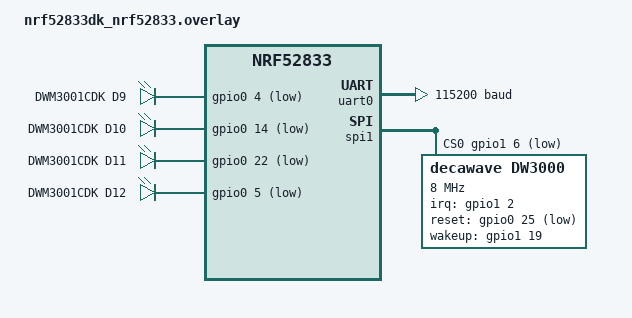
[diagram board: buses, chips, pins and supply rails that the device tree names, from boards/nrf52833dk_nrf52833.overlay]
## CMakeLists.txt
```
cmake_minimum_required(VERSION 3.20.0)

find_package(Zephyr REQUIRED HINTS $ENV{ZEPHYR_BASE})
project(uwb_phase1_bringup)

target_sources(app PRIVATE src/main.c)

# Verifies the beacon configuration and generates heimdall_beacon_config.h.
# Fails the configure stage if the tool-declared values disagree with the
# independently re-derived model. See docs/protocol-decisions.md item 27.
if(CONFIG_HEIMDALL_BEACON)
  include(cmake/heimdall_config.cmake)
  target_sources(app PRIVATE
    src/beacon_schedule.c
    src/beacon_report.c
    src/beacon_wire.c)
endif()

if(CONFIG_USB_DEVICE_STACK_NEXT)
  target_sources(app PRIVATE src/usb_cir_stream.c)
  target_sources(app PRIVATE ${ZEPHYR_BASE}/samples/subsys/usb/common/sample_usbd_init.c)
  target_include_directories(app PRIVATE ${ZEPHYR_BASE}/samples/subsys/usb/common)
endif()

if(CONFIG_PHASE1_ROLE_SCHEDULED_TX OR CONFIG_PHASE1_ROLE_SENSING_RX)
  target_sources(app PRIVATE src/primitives.c)
endif()

if(CONFIG_PHASE1_ROLE_BEACON_RUNTIME)
  target_sources(app PRIVATE src/beacon_runtime.c)
endif()

if(CONFIG_HEIMDALL_RUNTIME_GATEWAY)
  target_sources(app PRIVATE src/usb_runtime_records.c)
endif()

if(CONFIG_PHASE1_ROLE_TWR_INITIATOR OR CONFIG_PHASE1_ROLE_TWR_RESPONDER)
  target_sources(app PRIVATE src/twr.c)
endif()
```

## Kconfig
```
mainmenu "UWB Phase 1 bring-up"

source "Kconfig.zephyr"
source "${ZEPHYR_BASE}/samples/subsys/usb/common/Kconfig.sample_usbd"

choice PHASE1_ROLE
	prompt "Phase 1 application role"
	default PHASE1_ROLE_DEV_ID

config PHASE1_ROLE_DEV_ID
	bool "DEV_ID probe"

config PHASE1_ROLE_TX
	bool "1000-frame IRQ-confirmed transmitter"

config PHASE1_ROLE_RX
	bool "Continuous IRQ-driven receiver"

config PHASE1_ROLE_SCHEDULED_TX
	bool "1000-frame radio-clock scheduled transmitter"


config PHASE1_ROLE_SENSING_RX
	bool "CIR/timestamp/CFO sensing receiver"

config PHASE1_ROLE_USB_THROUGHPUT
	bool "Finite radio-free USB CDC throughput benchmark"
	depends on USB_DEVICE_STACK_NEXT

config PHASE1_ROLE_TWR_INITIATOR
	bool "SS-TWR initiator"

config PHASE1_ROLE_TWR_RESPONDER
	bool "SS-TWR responder"

config PHASE1_ROLE_BEACON_RUNTIME
	bool "Heimdall N=2 runtime beacon"
	select HEIMDALL_BEACON

endchoice

config PHASE1_FRAME_COUNT
	int "Number of frames in finite Phase 1 runs"
	default 1000
	range 1 10000

config PHASE1_TX_PERIOD_MS
	int "Scheduled-TX frame period in milliseconds"
	default 20
	range 2 10000

config PHASE1_TX_FRAME_BYTES
	int "Scheduled-TX total frame bytes including FCS"
	default 1023
	range 12 1023
	depends on PHASE1_ROLE_SCHEDULED_TX
	help
		Total frame length used by the scheduled transmitter timing gate.
		The two hardware FCS bytes are included in this value.

config PHASE1_EXT_PHR
	bool "Use DW3000 extended PHR"
	default y
	help
		Select the extended PHR required for frames larger than 127 bytes.

config PHASE1_ENABLE_FRAME_FILTER
	bool "Enable 802.15.4 hardware frame filter"
	default n
	depends on PHASE1_ROLE_SCHEDULED_TX || PHASE1_ROLE_SENSING_RX
	help
		Enable PAN ID and data-frame filtering for the radio bring-up gate.

config PHASE1_FRAME_FILTER_EXTENDED
	bool "Allow extended frame types in hardware filter"
	default n
	depends on PHASE1_ENABLE_FRAME_FILTER
	help
		Add DWT_FF_EXTEND_EN to the hardware filter flags for the EXT-PHR
		combination test.

config PHASE1_NODE_ID
	int "Bring-up source node ID"
	default 0
	range 0 7
	depends on PHASE1_ROLE_SCHEDULED_TX || PHASE1_ROLE_SENSING_RX

config PHASE1_NETWORK_ID
	hex "Bring-up PAN ID"
	default 0xABCD
	range 0 65535
	depends on PHASE1_ROLE_SCHEDULED_TX || PHASE1_ROLE_SENSING_RX

config PHASE1_CONTINUOUS_TX
	bool "Run scheduled TX continuously"
	default n
	depends on PHASE1_ROLE_SCHEDULED_TX
	help
	  Keep transmitting scheduled frames until the board is reset or reflashed.

config PHASE1_CIR_DUMP
	bool "Dump complete CIR windows over UART"
	default n

config PHASE1_USB_TEST_RECORDS
	int "Number of synthetic USB records"
	default 1000
	range 1 100000
	depends on PHASE1_ROLE_USB_THROUGHPUT

config PHASE1_USB_TEST_PERIOD_US
	int "Delay between synthetic USB records in microseconds"
	default 20000
	range 1 1000000
	depends on PHASE1_ROLE_USB_THROUGHPUT

config PHASE1_USB_TEST_START_DELAY_MS
	int "Startup delay before synthetic USB records in milliseconds"
	default 5000
	range 0 30000
	depends on PHASE1_ROLE_USB_THROUGHPUT

config PHASE1_USB_BULK_TX
	bool "Use FIFO-filled interrupt-driven CDC transmission"
	default y
	depends on USB_DEVICE_STACK_NEXT

config PHASE1_CIR_TAPS
	int "Sensing CIR taps"
	default 64
	range 1 128
	depends on PHASE1_ROLE_SENSING_RX
	help
		Number of complex CIR taps read by the sensing receiver. Use 64 and
		128 for the callback timing gate.

config PHASE1_CIR_LEFT_TAPS
	int "Sensing CIR taps before first path"
	default 16
	range 0 127
	depends on PHASE1_ROLE_SENSING_RX
	help
		Number of CIR taps requested before the CIA first-path index.

config PHASE1_MEASURE_CALLBACK
	bool "Measure sensing RX callback duration"
	default n
	depends on PHASE1_ROLE_SENSING_RX
	help
		Toggle D9 around the sensing callback and report maximum callback,
		diagnostics-read, and CIR-read durations using the Zephyr cycle counter.

config PHASE1_MEASURE_REPORT_ASSEMBLY
	bool "Measure production beacon report assembly"
	default n
	depends on PHASE1_MEASURE_CALLBACK && HEIMDALL_BEACON
	help
		Encode the received CIR as a CRC-bearing beacon subreport, pack the
		rotated pooled report, build every balanced frame, and report separate
		subreport-encode and report-assembly maxima.

config HEIMDALL_BEACON
	bool "Heimdall superslot beacon protocol"
	default n
	select CRC
	help
	  Enable the Heimdall beacon protocol defined in
	  contracts/beacon-v1.md. Selecting this makes the build verify a
	  beacon configuration file and generate heimdall_beacon_config.h.
	  Point the build at a configuration with
	  -DHEIMDALL_CONFIG_FILE=<path>; it defaults to
	  deployment/beacon-config.example.json.

	  The configure stage fails if the configuration's declared derived
	  values disagree with the independently re-derived reference model in
	  tools/config/heimdall_config.py.

config HEIMDALL_NODE_ID
	int "Heimdall schedule node ID"
	default 0
	range 0 7
	depends on HEIMDALL_BEACON
	help
		Schedule position for this firmware image. The deployment roster must
		bind this position to the board hardware ID before transmission is
		enabled.

config HEIMDALL_EXPECTED_DEVICE_ID_LOW
	hex "Expected FICR DEVICEID[0]"
	default 0
	depends on PHASE1_ROLE_BEACON_RUNTIME
	help
		Low 32-bit word of the physical board identity assigned to
		HEIMDALL_NODE_ID. A zero/zero identity is invalid and prevents the
		runtime from starting.

config HEIMDALL_EXPECTED_DEVICE_ID_HIGH
	hex "Expected FICR DEVICEID[1]"
	default 0
	depends on PHASE1_ROLE_BEACON_RUNTIME
	help
		High 32-bit word of the physical board identity assigned to
		HEIMDALL_NODE_ID.

config HEIMDALL_TX_ANTENNA_DELAY_DTU
	int "Per-board TX antenna delay"
	default 0
	range 0 65535
	depends on PHASE1_ROLE_BEACON_RUNTIME

config HEIMDALL_RX_ANTENNA_DELAY_DTU
	int "Per-board RX antenna delay"
	default 0
	range 0 65535
	depends on PHASE1_ROLE_BEACON_RUNTIME

config HEIMDALL_RUNTIME_GATEWAY
	bool "Export Heimdall runtime records over USB CDC"
	default n
	depends on PHASE1_ROLE_BEACON_RUNTIME && USB_DEVICE_STACK_NEXT
	help
		Enable the gateway-only USB CDC v1 record stream. Fixed radio nodes
		must leave this disabled.
```

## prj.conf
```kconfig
CONFIG_GPIO=y
CONFIG_SERIAL=y
CONFIG_CONSOLE=y
CONFIG_UART_CONSOLE=y
CONFIG_PRINTK=y
CONFIG_SPI=y
CONFIG_DW3000=y
CONFIG_DW3000_CHIP_DW3000=y
CONFIG_SYSTEM_WORKQUEUE_STACK_SIZE=4096
```

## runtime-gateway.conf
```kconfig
CONFIG_PHASE1_ROLE_BEACON_RUNTIME=y
CONFIG_HEIMDALL_BEACON=y
CONFIG_HEIMDALL_RUNTIME_GATEWAY=y
CONFIG_SPEED_OPTIMIZATIONS=y
CONFIG_HWINFO=y
CONFIG_USB_DEVICE_STACK_NEXT=y
CONFIG_USBD_CDC_ACM_CLASS=y
CONFIG_USBD_CDC_ACM_WORKQUEUE=y
CONFIG_USBD_CDC_ACM_STACK_SIZE=1024
CONFIG_UART_INTERRUPT_DRIVEN=y
CONFIG_UART_LINE_CTRL=y
CONFIG_UART_CONSOLE=n
CONFIG_PHASE1_USB_BULK_TX=y
CONFIG_SAMPLE_USBD_VID=0x2FE3
CONFIG_SAMPLE_USBD_PID=0x0101
CONFIG_SAMPLE_USBD_MANUFACTURER="Open UWB"
CONFIG_SAMPLE_USBD_PRODUCT="Heimdall Gateway"
CONFIG_SAMPLE_USBD_MAX_POWER=100
CONFIG_LOG=y
CONFIG_USBD_LOG_LEVEL_ERR=y
CONFIG_UDC_DRIVER_LOG_LEVEL_ERR=y
CONFIG_USBD_CDC_ACM_LOG_LEVEL_OFF=y
```

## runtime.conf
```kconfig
CONFIG_PHASE1_ROLE_BEACON_RUNTIME=y
CONFIG_HEIMDALL_BEACON=y
CONFIG_HWINFO=y
```

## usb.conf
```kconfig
CONFIG_USB_DEVICE_STACK_NEXT=y
CONFIG_USBD_CDC_ACM_CLASS=y
CONFIG_UART_INTERRUPT_DRIVEN=y
CONFIG_UART_LINE_CTRL=y
CONFIG_UART_CONSOLE=n
CONFIG_PHASE1_CIR_DUMP=y
CONFIG_SAMPLE_USBD_VID=0x2FE3
CONFIG_SAMPLE_USBD_PID=0x0101
CONFIG_SAMPLE_USBD_MANUFACTURER="Open UWB"
CONFIG_SAMPLE_USBD_PRODUCT="DWM3001 UWB CDC"
CONFIG_SAMPLE_USBD_MAX_POWER=100
CONFIG_LOG=y
CONFIG_USBD_LOG_LEVEL_ERR=y
CONFIG_UDC_DRIVER_LOG_LEVEL_ERR=y
CONFIG_USBD_CDC_ACM_LOG_LEVEL_OFF=y
```

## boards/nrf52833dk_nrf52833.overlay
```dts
#include <zephyr/dt-bindings/gpio/gpio.h>
#include <zephyr/dt-bindings/pinctrl/nrf-pinctrl.h>

/ {
	aliases {
		led0 = &phase1_led;
		led1 = &heimdall_led1;
		led2 = &heimdall_led2;
		led3 = &heimdall_led3;
	};

	leds {
		phase1_led: phase1_led {
			gpios = <&gpio0 4 GPIO_ACTIVE_LOW>;
			label = "DWM3001CDK D9";
		};
		heimdall_led1: heimdall_led1 {
			gpios = <&gpio0 14 GPIO_ACTIVE_LOW>;
			label = "DWM3001CDK D10";
		};
		heimdall_led2: heimdall_led2 {
			gpios = <&gpio0 22 GPIO_ACTIVE_LOW>;
			label = "DWM3001CDK D11";
		};
		heimdall_led3: heimdall_led3 {
			gpios = <&gpio0 5 GPIO_ACTIVE_LOW>;
			label = "DWM3001CDK D12";
		};
	};
};

/* J-Link OB VCOM wiring on the DWM3001CDK. */
&uart0_default {
	/delete-node/ group1;
	/delete-node/ group2;

	group1 {
		psels = <NRF_PSEL(UART_TX, 0, 19)>;
	};

	group2 {
		psels = <NRF_PSEL(UART_RX, 0, 15)>;
		bias-pull-up;
	};
};

&uart0_sleep {
	/delete-node/ group1;
	/delete-node/ group2;

	group1 {
		psels = <NRF_PSEL(UART_TX, 0, 19)>,
			<NRF_PSEL(UART_RX, 0, 15)>;
		low-power-enable;
	};
};

&uart0 {
	status = "okay";
	current-speed = <115200>;
};

/* Initial DW3110 bring-up: legacy SPI1 at 8 MHz, deliberately not SPIM3. */
&spi1_default {
	/delete-node/ group1;

	group1 {
		psels = <NRF_PSEL(SPIM_SCK, 0, 3)>,
			<NRF_PSEL(SPIM_MISO, 0, 29)>,
			<NRF_PSEL(SPIM_MOSI, 0, 8)>;
	};
};

&spi1_sleep {
	/delete-node/ group1;

	group1 {
		psels = <NRF_PSEL(SPIM_SCK, 0, 3)>,
			<NRF_PSEL(SPIM_MISO, 0, 29)>,
			<NRF_PSEL(SPIM_MOSI, 0, 8)>;
		low-power-enable;
	};
};

&spi1 {
	status = "okay";
	compatible = "nordic,nrf-spi";
	cs-gpios = <&gpio1 6 GPIO_ACTIVE_LOW>;

	dw3000: dw3000@0 {
		compatible = "decawave,dw3000";
		reg = <0>;
		status = "okay";
		spi-max-frequency = <8000000>;
		irq-gpios = <&gpio1 2 GPIO_ACTIVE_HIGH>;
		reset-gpios = <&gpio0 25 GPIO_ACTIVE_LOW>;
		wakeup-gpios = <&gpio1 19 GPIO_ACTIVE_HIGH>;
	};
};

/* The stock DK enables this Arduino-header bus; it is not wired on the CDK. */
&spi3 {
	status = "disabled";
};
```

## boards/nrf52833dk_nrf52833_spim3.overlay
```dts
#include <zephyr/dt-bindings/gpio/gpio.h>
#include <zephyr/dt-bindings/pinctrl/nrf-pinctrl.h>

 / {
	aliases {
		led0 = &phase1_led;
		led1 = &heimdall_led1;
		led2 = &heimdall_led2;
		led3 = &heimdall_led3;
	};

	leds {
		phase1_led: phase1_led {
			gpios = <&gpio0 4 GPIO_ACTIVE_LOW>;
			label = "DWM3001CDK D9";
		};
		heimdall_led1: heimdall_led1 {
			gpios = <&gpio0 14 GPIO_ACTIVE_LOW>;
			label = "DWM3001CDK D10";
		};
		heimdall_led2: heimdall_led2 {
			gpios = <&gpio0 22 GPIO_ACTIVE_LOW>;
			label = "DWM3001CDK D11";
		};
		heimdall_led3: heimdall_led3 {
			gpios = <&gpio0 5 GPIO_ACTIVE_LOW>;
			label = "DWM3001CDK D12";
		};
	};
};

/* J-Link OB VCOM wiring on the DWM3001CDK. */
&uart0_default {
	/delete-node/ group1;
	/delete-node/ group2;

	group1 {
		psels = <NRF_PSEL(UART_TX, 0, 19)>;
	};

	group2 {
		psels = <NRF_PSEL(UART_RX, 0, 15)>;
		bias-pull-up;
	};
};

&uart0_sleep {
	/delete-node/ group1;
	/delete-node/ group2;

	group1 {
		psels = <NRF_PSEL(UART_TX, 0, 19)>,
			<NRF_PSEL(UART_RX, 0, 15)>;
		low-power-enable;
	};
};

&uart0 {
	status = "okay";
	current-speed = <115200>;
};

/*
 * Optional Phase 2 speed-test profile: the nRF52833's only 32 MHz-capable
 * SPI master. Keep the default board overlay as the known-good 8 MHz rollback.
 */
&spi3_default {
	/delete-node/ group1;

	group1 {
		psels = <NRF_PSEL(SPIM_SCK, 0, 3)>,
			<NRF_PSEL(SPIM_MISO, 0, 29)>,
			<NRF_PSEL(SPIM_MOSI, 0, 8)>;
		nordic,drive-mode = <NRF_DRIVE_H0H1>;
	};
};

&spi3_sleep {
	/delete-node/ group1;

	group1 {
		psels = <NRF_PSEL(SPIM_SCK, 0, 3)>,
			<NRF_PSEL(SPIM_MISO, 0, 29)>,
			<NRF_PSEL(SPIM_MOSI, 0, 8)>;
		low-power-enable;
	};
};

&spi1 {
	/delete-node/ dw3000@0;
	status = "disabled";
};

&spi3 {
	status = "okay";
	cs-gpios = <&gpio1 6 GPIO_ACTIVE_LOW>;

	dw3000: dw3000@0 {
		compatible = "decawave,dw3000";
		reg = <0>;
		status = "okay";
		spi-max-frequency = <32000000>;
		irq-gpios = <&gpio1 2 GPIO_ACTIVE_HIGH>;
		reset-gpios = <&gpio0 25 GPIO_ACTIVE_LOW>;
		wakeup-gpios = <&gpio1 19 GPIO_ACTIVE_HIGH>;
	};
};
```

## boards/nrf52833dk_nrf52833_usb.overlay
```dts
&zephyr_udc0 {
	cdc_acm_uart0 {
		compatible = "zephyr,cdc-acm-uart";
		label = "DWM3001 USB CDC ACM";
		tx-fifo-size = <8192>;
	};
};
```

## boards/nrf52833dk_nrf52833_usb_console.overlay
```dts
/ {
	chosen {
		zephyr,console = &cdc_acm_uart0;
	};
};

&zephyr_udc0 {
	cdc_acm_uart0: cdc_acm_uart0 {
		compatible = "zephyr,cdc-acm-uart";
		label = "DWM3001 USB CDC ACM";
	};
};
```

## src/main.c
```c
#include <zephyr/device.h>
#include <zephyr/drivers/gpio.h>
#include <zephyr/kernel.h>
#include <zephyr/sys/printk.h>
#if defined(CONFIG_USB_DEVICE_STACK_NEXT)
#include <sample_usbd.h>
#include <zephyr/drivers/uart.h>
#include <zephyr/usb/usbd.h>
#include "usb_cir_stream.h"
#endif

#include <deca_device_api.h>
#include <deca_probe_interface.h>
#include <dw3000_hw.h>
#include <dw3000_spi.h>

#if defined(CONFIG_HEIMDALL_BEACON)
#include "heimdall_beacon_config.h"
#include "beacon_wire.h"
#endif
#if defined(CONFIG_HEIMDALL_RUNTIME_GATEWAY)
#include "usb_runtime_records.h"
#endif

#define HEARTBEAT_PERIOD_MS 500
#define FRAME_COUNT 1000U
#define FRAME_DATA_LEN 10U
#define FRAME_FCS_LEN 2U
#define FRAME_WIRE_LEN (FRAME_DATA_LEN + FRAME_FCS_LEN)
#define TX_PERIOD_MS 20
#define RX_BUFFER_LEN 127U
#define DW3000_NODE DT_COMPAT_GET_ANY_STATUS_OKAY(decawave_dw3000)

int phase1_run_scheduled_tx(void);
int phase1_run_sensing_rx(void);
int phase1_run_twr_initiator(void);
int phase1_run_twr_responder(void);
int heimdall_beacon_runtime_run(void);

#if defined(CONFIG_USB_DEVICE_STACK_NEXT)
static const struct device *const usb_uart = DEVICE_DT_GET_ONE(zephyr_cdc_acm_uart);

static void usb_msg_cb(struct usbd_context *const ctx, const struct usbd_msg *msg)
{
	if (usbd_can_detect_vbus(ctx)) {
		if (msg->type == USBD_MSG_VBUS_READY) {
			(void)usbd_enable(ctx);
		} else if (msg->type == USBD_MSG_VBUS_REMOVED) {
			(void)usbd_disable(ctx);
		}
	}
}

static void usb_init(void)
{
	struct usbd_context *ctx;

	if (!device_is_ready(usb_uart)) {
		printk("USB CDC device not ready\\n");
		return;
	}
	ctx = sample_usbd_init_device(usb_msg_cb);
	if (ctx == NULL) {
		printk("USB CDC init failed\\n");
		return;
	}
	if (!usbd_can_detect_vbus(ctx)) {
		(void)usbd_enable(ctx);
	}
	printk("USB CDC ready\\n");
}
#endif

static const struct gpio_dt_spec heartbeat_led =
	GPIO_DT_SPEC_GET(DT_ALIAS(led0), gpios);

#if defined(CONFIG_HEIMDALL_BEACON)
_Static_assert(HEIMDALL_N_NODES >= 2 && HEIMDALL_N_NODES <= HEIMDALL_MAX_NODES,
	       "Heimdall node count is outside the protocol range");
_Static_assert(CONFIG_HEIMDALL_NODE_ID < HEIMDALL_N_NODES,
	       "Heimdall node ID is outside the configured roster range");
_Static_assert(HEIMDALL_CIR_TAPS >= 1 && HEIMDALL_CIR_TAPS <= HEIMDALL_MAX_CIR_TAPS,
	       "Heimdall CIR tap count is outside the protocol range");
_Static_assert(HEIMDALL_CIR_LEFT_TAPS < HEIMDALL_CIR_TAPS,
	       "Heimdall CIR window starts outside the tap count");
_Static_assert(HEIMDALL_MAX_FRAME_BYTES <= 1023,
	       "Heimdall maximum frame exceeds the DW3000 EXT PHR limit");
_Static_assert(HEIMDALL_FRAME_BYTES <= HEIMDALL_MAX_FRAME_BYTES,
	       "Heimdall frame exceeds the configured maximum");
_Static_assert(HEIMDALL_M * HEIMDALL_FRAME_PAYLOAD_BYTES >=
	       HEIMDALL_POOLED_REPORT_MAX_BYTES,
	       "Heimdall pooled report does not fit its frames");
_Static_assert(HEIMDALL_SLOT_DURATION_US % 100U == 0U,
	       "Heimdall slot duration is not quantised to 100 us");
_Static_assert(HEIMDALL_SLOT_DURATION_US >= HEIMDALL_SLOT_FLOOR_US,
	       "Heimdall slot duration is below the calculated floor");
#endif

static dwt_config_t radio_config = {
#if defined(CONFIG_HEIMDALL_BEACON)
	.chan = HEIMDALL_PHY_CHANNEL,
	.txPreambLength = HEIMDALL_PHY_PREAMBLE_LENGTH == 128 ? DWT_PLEN_128 : DWT_PLEN_64,
	.rxPAC = HEIMDALL_PHY_PAC == 8 ? DWT_PAC8 : DWT_PAC4,
	.txCode = HEIMDALL_PHY_TX_PREAMBLE_CODE,
	.rxCode = HEIMDALL_PHY_RX_PREAMBLE_CODE,
	.sfdType = HEIMDALL_PHY_SFD_TYPE,
	.dataRate = DWT_BR_6M8,
	.phrMode = HEIMDALL_PHY_PHR_MODE_EXT ? DWT_PHRMODE_EXT : DWT_PHRMODE_STD,
	.phrRate = HEIMDALL_PHY_PHR_RATE_DTA ? DWT_PHRRATE_DTA : DWT_PHRRATE_STD,
	.sfdTO = HEIMDALL_PHY_SFD_TIMEOUT,
	.stsMode = DWT_STS_MODE_OFF,
	.stsLength = DWT_STS_LEN_64,
	.pdoaMode = DWT_PDOA_M0,
#else
	.chan = 9,
	.txPreambLength = DWT_PLEN_128,
	.rxPAC = DWT_PAC8,
	.txCode = 9,
	.rxCode = 9,
	.sfdType = 1,
	.dataRate = DWT_BR_6M8,
	.phrMode = CONFIG_PHASE1_EXT_PHR ? DWT_PHRMODE_EXT : DWT_PHRMODE_STD,
	.phrRate = DWT_PHRRATE_STD,
	.sfdTO = 129,
	.stsMode = DWT_STS_MODE_OFF,
	.stsLength = DWT_STS_LEN_64,
	.pdoaMode = DWT_PDOA_M0,
#endif
};

static const dwt_txconfig_t tx_rf_config = {
#if defined(CONFIG_HEIMDALL_BEACON)
	.PGdly = HEIMDALL_PHY_TX_PG_DELAY,
	.power = HEIMDALL_PHY_TX_POWER,
#else
	.PGdly = 0x34,
	.power = 0xfefefefe,
#endif
	.PGcount = 0,
};

#if defined(CONFIG_PHASE1_ROLE_TX)
K_SEM_DEFINE(tx_done, 0, 1);
static volatile uint32_t tx_irq_count;

static void tx_confirm_cb(const dwt_cb_data_t *cb_data)
{
	ARG_UNUSED(cb_data);
	tx_irq_count++;
	k_sem_give(&tx_done);
}

static dwt_callbacks_s tx_callbacks = {
	.cbTxDone = tx_confirm_cb,
};
#elif defined(CONFIG_PHASE1_ROLE_RX)
static uint8_t rx_buffer[RX_BUFFER_LEN];
static volatile uint32_t rx_irq_count;
static volatile uint32_t rx_error_irq_count;
static volatile uint32_t rx_expected;
static volatile uint32_t rx_duplicates;
static volatile uint32_t rx_last_uptime_ms;
static volatile int16_t rx_last_rssi_q8_8;
static volatile int16_t rx_last_fp_power_q8_8;
static volatile bool rx_have_sequence;
static uint16_t rx_last_sequence;

static void rx_ok_cb(const dwt_cb_data_t *cb_data)
{
	dwt_cirdiags_t cir_diag;
	uint16_t sequence;
	uint16_t length = cb_data->datalength;

	if (length > sizeof(rx_buffer)) {
		length = sizeof(rx_buffer);
	}

	dwt_readrxdata(rx_buffer, length, 0);
	if ((length >= 6U) && (rx_buffer[0] == 0xC5) &&
	    (rx_buffer[4] == 'P') && (rx_buffer[5] == '1')) {
		sequence = (uint16_t)rx_buffer[2] |
			   ((uint16_t)rx_buffer[3] << 8);

		if ((sequence == 0U) && rx_have_sequence) {
			rx_irq_count = 0;
			rx_error_irq_count = 0;
			rx_expected = 0;
			rx_duplicates = 0;
			rx_have_sequence = false;
		}

		if (!rx_have_sequence) {
			rx_expected = (uint32_t)sequence + 1U;
			rx_have_sequence = true;
		} else if (sequence == rx_last_sequence) {
			rx_duplicates++;
		} else if (sequence > rx_last_sequence) {
			rx_expected += (uint32_t)(sequence - rx_last_sequence);
		}

		rx_last_sequence = sequence;
		rx_irq_count++;
		rx_last_uptime_ms = k_uptime_get_32();

		if (dwt_readdiagnostics_acc(&cir_diag, DWT_ACC_IDX_IP_M) ==
		    DWT_SUCCESS) {
			(void)dwt_calculate_rssi(&cir_diag, DWT_ACC_IDX_IP_M,
					 (int16_t *)&rx_last_rssi_q8_8);
			(void)dwt_calculate_first_path_power(
				&cir_diag, DWT_ACC_IDX_IP_M,
				(int16_t *)&rx_last_fp_power_q8_8);
		}
	}

	(void)dwt_rxenable(DWT_START_RX_IMMEDIATE);
}

static void rx_error_cb(const dwt_cb_data_t *cb_data)
{
	ARG_UNUSED(cb_data);
	rx_error_irq_count++;
	(void)dwt_rxenable(DWT_START_RX_IMMEDIATE);
}

static dwt_callbacks_s rx_callbacks = {
	.cbRxOk = rx_ok_cb,
	.cbRxTo = rx_error_cb,
	.cbRxErr = rx_error_cb,
};
#endif

static int radio_probe_and_configure(bool configure_phy)
{
	int ret;
	int32_t probe_ret;
	uint32_t dev_id;
	uint32_t idle_wait;

	ret = dw3000_hw_init();
	printk("phase1: dw3000_hw_init=%d\n", ret);
	if (ret != 0) {
		return ret;
	}

	dw3000_hw_reset();
	k_msleep(10);

	probe_ret = dwt_probe((struct dwt_probe_s *)&dw3000_probe_interf);
	printk("phase1: dwt_probe=%d\n", probe_ret);
	if (probe_ret != DWT_SUCCESS) {
		printk("phase1: DEV_ID probe failed\n");
		return -EIO;
	}

	dev_id = dwt_readdevid();
	printk("phase1: DEV_ID=0x%08X\n", dev_id);

	if (!configure_phy) {
		return 0;
	}

	for (idle_wait = 0; idle_wait < 1000U; idle_wait++) {
		if (dwt_checkidlerc()) {
			break;
		}
		k_msleep(1);
	}
	if (idle_wait == 1000U) {
		printk("phase1: IDLE_RC timeout\n");
		return -ETIMEDOUT;
	}

	if (dwt_initialise(DWT_DW_INIT) == DWT_ERROR) {
		printk("phase1: dwt_initialise failed\n");
		return -EIO;
	}
	dw3000_spi_speed_fast();

	if (dwt_configure(&radio_config) == DWT_ERROR) {
		printk("phase1: dwt_configure failed\n");
		return -EIO;
	}

	dwt_configuretxrf((dwt_txconfig_t *)&tx_rf_config);
#if defined(CONFIG_PHASE1_ENABLE_FRAME_FILTER)
	dwt_setpanid(CONFIG_PHASE1_NETWORK_ID);
	dwt_setaddress16(CONFIG_PHASE1_NODE_ID);
	if (CONFIG_PHASE1_ENABLE_FRAME_FILTER) {
		uint16_t filter_flags = DWT_FF_DATA_EN;
#if CONFIG_PHASE1_FRAME_FILTER_EXTENDED
		filter_flags |= DWT_FF_EXTEND_EN;
#endif
		dwt_configureframefilter(DWT_FF_ENABLE_802_15_4, filter_flags);
	}
#endif
#if defined(CONFIG_HEIMDALL_BEACON)
	dwt_setpanid(HEIMDALL_NETWORK_ID);
	dwt_setaddress16(CONFIG_HEIMDALL_NODE_ID);
	if (HEIMDALL_ENABLE_FRAME_FILTER != 0U) {
		uint16_t filter_flags = DWT_FF_DATA_EN;

		if (HEIMDALL_PHY_PHR_MODE_EXT != 0U) {
			filter_flags |= DWT_FF_EXTEND_EN;
		}
		dwt_configureframefilter(DWT_FF_ENABLE_802_15_4, filter_flags);
	}
#endif
	/* Keep the DW3110 in IDLE_PLL between packets; do not enter IDLE_RC or
	 * sleep, so the RF synthesizer remains locked across the schedule. */
	if (dwt_setdwstate(DWT_DW_IDLE) == DWT_ERROR) {
		printk("phase1: IDLE_PLL request failed\n");
		return -EIO;
	}
	printk("phase1: PHY ch=9 prf=64 plen=128 rate=6M8 spi=%uMHz\n",
	       (uint32_t)(DT_PROP(DW3000_NODE, spi_max_frequency) / 1000000U));
	return 0;
}

static int run_tx(void)
{
#if defined(CONFIG_PHASE1_ROLE_TX)
	uint8_t tx_frame[FRAME_DATA_LEN] = {
		0xC5, 0, 0, 0, 'P', '1', 'U', 'W', 'B', '!'
	};
	uint32_t sequence;
	uint32_t start_failures = 0;
	uint32_t irq_timeouts = 0;

	dwt_setcallbacks(&tx_callbacks);
	dwt_setinterrupt(DWT_INT_TXFRS_BIT_MASK, 0, DWT_ENABLE_INT);
	dwt_writesysstatuslo(DWT_INT_RCINIT_BIT_MASK | DWT_INT_SPIRDY_BIT_MASK);
	if (dw3000_hw_init_interrupt() != 0) {
		printk("phase1: IRQ init failed\n");
		return -EIO;
	}

	printk("phase1: TX_START frames=%u period_ms=%u mode=IRQ\n",
	       FRAME_COUNT, TX_PERIOD_MS);
	for (sequence = 0; sequence < FRAME_COUNT; sequence++) {
		tx_frame[1] = (uint8_t)sequence;
		tx_frame[2] = (uint8_t)sequence;
		tx_frame[3] = (uint8_t)(sequence >> 8);
		dwt_writetxdata(FRAME_DATA_LEN, tx_frame, 0);
		dwt_writetxfctrl(FRAME_WIRE_LEN, 0, 0);

		if (dwt_starttx(DWT_START_TX_IMMEDIATE) == DWT_ERROR) {
			start_failures++;
		} else if (k_sem_take(&tx_done, K_MSEC(100)) != 0) {
			irq_timeouts++;
		}

		if (((sequence + 1U) % 100U) == 0U) {
			printk("phase1: TX_PROGRESS sent=%u irq=%u start_fail=%u irq_to=%u\n",
			       sequence + 1U, tx_irq_count, start_failures,
			       irq_timeouts);
		}
		k_msleep(TX_PERIOD_MS);
	}

	printk("phase1: TX_FINAL sent=%u irq=%u start_fail=%u irq_to=%u\n",
	       FRAME_COUNT, tx_irq_count, start_failures, irq_timeouts);
	return 0;
#else
	return -ENOTSUP;
#endif
}

static int run_rx(void)
{
#if defined(CONFIG_PHASE1_ROLE_RX)
	uint32_t last_printed = 0;
	bool final_printed = false;

	dwt_setcallbacks(&rx_callbacks);
	dwt_setinterrupt(DWT_INT_RXFCG_BIT_MASK | SYS_STATUS_ALL_RX_ERR,
			 0, DWT_ENABLE_INT);
	dwt_writesysstatuslo(DWT_INT_RCINIT_BIT_MASK | DWT_INT_SPIRDY_BIT_MASK);
	if (dw3000_hw_init_interrupt() != 0) {
		printk("phase1: IRQ init failed\n");
		return -EIO;
	}

	printk("phase1: RX_START mode=IRQ\n");
	(void)dwt_rxenable(DWT_START_RX_IMMEDIATE);

	while (true) {
		uint32_t received = rx_irq_count;
		uint32_t expected = rx_expected;

		if ((received != last_printed) &&
		    ((received % 100U) == 0U)) {
			printk("phase1: RX_PROGRESS received=%u expected=%u errors=%u rssi_q8_8=%d fp_q8_8=%d\n",
			       received, expected, rx_error_irq_count,
			       rx_last_rssi_q8_8, rx_last_fp_power_q8_8);
			last_printed = received;
		}

		if (rx_have_sequence && !final_printed &&
		    ((uint32_t)(k_uptime_get_32() - rx_last_uptime_ms) > 1000U)) {
			uint32_t unique = received - rx_duplicates;
			uint32_t lost = FRAME_COUNT > unique ?
				FRAME_COUNT - unique : 0U;
			uint32_t rate_x100 = (unique * 10000U) / FRAME_COUNT;
			printk("phase1: RX_FINAL received=%u expected=%u lost=%u duplicates=%u errors=%u rate=%u.%02u%% irq=%u rssi_q8_8=%d fp_q8_8=%d\n",
			       unique, FRAME_COUNT, lost, rx_duplicates,
			       rx_error_irq_count, rate_x100 / 100U,
			       rate_x100 % 100U, received,
			       rx_last_rssi_q8_8, rx_last_fp_power_q8_8);
			final_printed = true;
		}

		if (rx_have_sequence &&
		    ((uint32_t)(k_uptime_get_32() - rx_last_uptime_ms) < 100U)) {
			final_printed = false;
		}
		k_msleep(20);
	}
#else
	return -ENOTSUP;
#endif
}

int main(void)
{
	#if defined(CONFIG_USB_DEVICE_STACK_NEXT)
	usb_init();
	#endif
	int ret;
	uint32_t heartbeat = 0;

	if (!gpio_is_ready_dt(&heartbeat_led)) {
		printk("phase1: D9 GPIO is not ready\n");
		return 0;
	}

	ret = gpio_pin_configure_dt(&heartbeat_led, GPIO_OUTPUT_INACTIVE);
	if (ret != 0) {
		printk("phase1: D9 configure failed: %d\n", ret);
		return 0;
	}

	printk("phase1: hello from DWM3001CDK Zephyr bring-up\n");
#if defined(CONFIG_PHASE1_ROLE_USB_THROUGHPUT)
	ret = 0;
#else
	ret = radio_probe_and_configure(
#if defined(CONFIG_PHASE1_ROLE_DEV_ID)
		false
#else
		true
#endif
	);
#endif
	if (ret != 0 && !IS_ENABLED(CONFIG_PHASE1_ROLE_USB_THROUGHPUT)) {
#if defined(CONFIG_HEIMDALL_RUNTIME_GATEWAY)
		(void)heimdall_usb_emit_error(0x0003U, (uint16_t)-ret, 0U, true);
		k_msleep(20);
#endif
		return 0;
	}

#if defined(CONFIG_PHASE1_ROLE_USB_THROUGHPUT)
	(void)phase1_run_usb_throughput();
#elif defined(CONFIG_PHASE1_ROLE_TX)
	(void)run_tx();
#elif defined(CONFIG_PHASE1_ROLE_RX)
	(void)run_rx();
#elif defined(CONFIG_PHASE1_ROLE_SCHEDULED_TX)
	(void)phase1_run_scheduled_tx();
#elif defined(CONFIG_PHASE1_ROLE_SENSING_RX)
	(void)phase1_run_sensing_rx();
#elif defined(CONFIG_PHASE1_ROLE_TWR_INITIATOR)
	(void)phase1_run_twr_initiator();
#elif defined(CONFIG_PHASE1_ROLE_TWR_RESPONDER)
	(void)phase1_run_twr_responder();
#elif defined(CONFIG_PHASE1_ROLE_BEACON_RUNTIME)
	ret = heimdall_beacon_runtime_run();
	if (ret != 0) {
		printk("heimdall: runtime stopped: %d\n", ret);
		return 0;
	}
#endif

	while (true) {
		(void)gpio_pin_toggle_dt(&heartbeat_led);
		printk("phase1: heartbeat %u\n", heartbeat++);
		k_msleep(HEARTBEAT_PERIOD_MS);
	}

	return 0;
}
```

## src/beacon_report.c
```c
#include "beacon_report.h"

#include <errno.h>
#include <string.h>

#include "beacon_schedule.h"

int heimdall_report_pack(struct heimdall_report *report, uint32_t k,
				 uint8_t reporting_node, uint8_t n_nodes,
				 const uint8_t *subreports[HEIMDALL_REPORT_NODE_SLOTS],
				 const uint16_t subreport_lengths[HEIMDALL_REPORT_NODE_SLOTS])
{
	uint16_t offset = 0U;

	if (report == NULL || subreports == NULL || subreport_lengths == NULL ||
	    n_nodes < 2U || n_nodes > 8U || reporting_node >= n_nodes) {
		return -EINVAL;
	}
	memset(report->start_offsets, 0, sizeof(report->start_offsets));
	memset(report->ordered_nodes, 0, sizeof(report->ordered_nodes));
	report->subreport_count = 0U;
	report->total_bytes = 0U;
	report->peer_observed_bitmap = 0U;

	for (uint8_t ordinal = 0U; ordinal < n_nodes - 1U; ++ordinal) {
		uint8_t observed = heimdall_schedule_order(k, reporting_node, n_nodes, ordinal);
		uint16_t length = subreport_lengths[observed];

		if (subreports[observed] == NULL || length == 0U) {
			continue;
		}
		if ((size_t)offset + length > sizeof(report->bytes) ||
		    report->subreport_count >= HEIMDALL_REPORT_MAX_SUBREPORTS) {
			return -E2BIG;
		}
		report->start_offsets[report->subreport_count] = offset;
		report->ordered_nodes[report->subreport_count] = observed;
		memcpy(&report->bytes[offset], subreports[observed], length);
		offset += length;
		report->peer_observed_bitmap |= (uint8_t)(1U << observed);
		report->subreport_count++;
	}

	report->total_bytes = offset;
	return 0;
}

uint8_t heimdall_report_frame_subreport_count(const struct heimdall_report *report,
						       uint8_t frame_index,
						       uint16_t frame_payload_bytes)
{
	uint32_t start;
	uint32_t end;
	uint8_t count = 0U;

	if (report == NULL || frame_payload_bytes == 0U) {
		return 0U;
	}
	start = (uint32_t)frame_index * frame_payload_bytes;
	end = start + frame_payload_bytes;
	for (uint8_t i = 0U; i < report->subreport_count; ++i) {
		if (report->start_offsets[i] >= start && report->start_offsets[i] < end) {
			count++;
		}
	}
	return count;
}

int heimdall_report_copy_frame(const struct heimdall_report *report,
				       uint8_t frame_index, uint16_t frame_payload_bytes,
				       uint8_t *out, size_t out_length)
{
	uint32_t offset;
	size_t available;

	if (report == NULL || out == NULL || frame_payload_bytes == 0U ||
	    out_length < frame_payload_bytes) {
		return -EINVAL;
	}
	offset = (uint32_t)frame_index * frame_payload_bytes;
	memset(out, 0, frame_payload_bytes);
	if (offset >= report->total_bytes) {
		return 0;
	}
	available = report->total_bytes - offset;
	if (available > frame_payload_bytes) {
		available = frame_payload_bytes;
	}
	memcpy(out, &report->bytes[offset], available);
	return 0;
}
```

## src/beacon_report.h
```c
#pragma once

#include <stddef.h>
#include <stdint.h>

#define HEIMDALL_REPORT_MAX_BYTES (7U * 552U)
#define HEIMDALL_REPORT_MAX_SUBREPORTS 7U
#define HEIMDALL_REPORT_NODE_SLOTS 8U

struct heimdall_report {
	uint8_t bytes[HEIMDALL_REPORT_MAX_BYTES];
	uint16_t start_offsets[HEIMDALL_REPORT_MAX_SUBREPORTS];
	uint8_t ordered_nodes[HEIMDALL_REPORT_MAX_SUBREPORTS];
	uint8_t subreport_count;
	uint16_t total_bytes;
	uint8_t peer_observed_bitmap;
};

int heimdall_report_pack(struct heimdall_report *report, uint32_t k,
				 uint8_t reporting_node, uint8_t n_nodes,
				 const uint8_t *subreports[HEIMDALL_REPORT_NODE_SLOTS],
				 const uint16_t subreport_lengths[HEIMDALL_REPORT_NODE_SLOTS]);

uint8_t heimdall_report_frame_subreport_count(const struct heimdall_report *report,
						       uint8_t frame_index,
						       uint16_t frame_payload_bytes);

int heimdall_report_copy_frame(const struct heimdall_report *report,
				       uint8_t frame_index, uint16_t frame_payload_bytes,
				       uint8_t *out, size_t out_length);
```

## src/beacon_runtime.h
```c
#pragma once

#include <stdint.h>

#include <zephyr/sys/atomic.h>

struct heimdall_gateway_queue_diagnostics {
	atomic_t allocation_failures;
	atomic_t depth;
	atomic_t depth_high_water;
};

struct heimdall_runtime_counters {
	uint32_t rx_frames;
	uint32_t rx_validated;
	uint32_t rx_errors;
	uint32_t rx_fcs_errors;
	uint32_t rx_filter_rejects;
	uint32_t reject_length;
	uint32_t reject_header;
	uint32_t reject_config;
	uint32_t reject_schedule;
	uint32_t reject_stale;
	uint32_t reject_subreport;
	uint32_t subreport_crc_failures;
	uint32_t diagnostic_failures;
	uint32_t cir_reads;
	uint32_t subreport_encode_failures;
	uint32_t report_assembly_failures;
	uint32_t tx_attempted;
	uint32_t tx_completed;
	uint32_t tx_start_late;
	uint32_t tx_timestamp_errors;
	uint32_t bootstrap_transmissions;
	uint32_t peer_adoptions;
	uint32_t watchdog_transmissions;
	uint32_t identity_collisions;
	uint32_t configuration_inhibitions;
	uint32_t tx_timeout_recoveries;
	uint32_t callback_max_us;
	uint32_t last_rx_k;
	uint32_t last_tx_k;
	uint64_t last_rx_timestamp;
	uint64_t last_programmed_tx_timestamp;
	int64_t last_tx_error_dtu;
	uint64_t first_tx_system_timestamp;
	uint64_t first_programmed_tx_timestamp;
	int64_t first_tx_lead_dtu;
	uint8_t synchronized;
	uint8_t tx_armed;
	uint8_t evidence_age;
	uint8_t reserved;
};

extern volatile struct heimdall_runtime_counters heimdall_runtime_counters;
extern struct heimdall_gateway_queue_diagnostics
	heimdall_gateway_queue_diagnostics;

int heimdall_beacon_runtime_run(void);
```

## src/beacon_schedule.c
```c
#include "beacon_schedule.h"

uint8_t heimdall_schedule_transmitter(uint32_t k, uint8_t n_nodes)
{
	return n_nodes == 0U ? 0U : (uint8_t)(k % n_nodes);
}

uint8_t heimdall_schedule_slots_until_owner(uint32_t k, uint8_t node_id,
					    uint8_t n_nodes)
{
	if (n_nodes == 0U || node_id >= n_nodes) {
		return 0U;
	}
	for (uint8_t slots = 1U; slots <= n_nodes; ++slots) {
		if (heimdall_schedule_transmitter(k + slots, n_nodes) == node_id) {
			return slots;
		}
	}
	return 0U;
}

uint8_t heimdall_schedule_frame_slots_until_owner(uint32_t k, uint8_t m,
						  uint8_t node_id, uint8_t n_nodes,
						  uint8_t slots_per_superslot)
{
	uint8_t superslots;

	if (slots_per_superslot == 0U || m >= slots_per_superslot) {
		return 0U;
	}
	superslots = heimdall_schedule_slots_until_owner(k, node_id, n_nodes);
	return (uint8_t)(superslots * slots_per_superslot - m);
}

uint32_t heimdall_schedule_slot_index(uint32_t k, uint8_t m,
					      uint8_t slots_per_superslot)
{
	return k * (uint32_t)slots_per_superslot + m;
}

uint8_t heimdall_schedule_round_delta(uint8_t reporting_node,
					      uint8_t observed_node, uint8_t n_nodes)
{
	if (n_nodes == 0U) {
		return 0U;
	}
	return (uint8_t)((reporting_node + n_nodes - observed_node) % n_nodes);
}

uint8_t heimdall_schedule_order(uint32_t k, uint8_t reporting_node,
					uint8_t n_nodes, uint8_t ordinal)
{
	uint8_t start;
	uint8_t seen = 0U;

	if (n_nodes < 2U || ordinal >= n_nodes - 1U || reporting_node >= n_nodes) {
		return UINT8_MAX;
	}
	start = (uint8_t)(((k / n_nodes) + 1U) % n_nodes);
	for (uint8_t candidate = 0U; candidate < n_nodes; ++candidate) {
		uint8_t observed = (uint8_t)((start + candidate) % n_nodes);
		if (observed == reporting_node) {
			continue;
		}
		if (seen++ == ordinal) {
			return observed;
		}
	}
	return UINT8_MAX;
}
```

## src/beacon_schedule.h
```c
#pragma once

#include <stdint.h>

uint8_t heimdall_schedule_transmitter(uint32_t k, uint8_t n_nodes);
uint8_t heimdall_schedule_slots_until_owner(uint32_t k, uint8_t node_id,
					    uint8_t n_nodes);
uint8_t heimdall_schedule_frame_slots_until_owner(uint32_t k, uint8_t m,
						  uint8_t node_id, uint8_t n_nodes,
						  uint8_t slots_per_superslot);
uint32_t heimdall_schedule_slot_index(uint32_t k, uint8_t m,
					      uint8_t slots_per_superslot);
uint8_t heimdall_schedule_round_delta(uint8_t reporting_node,
					      uint8_t observed_node, uint8_t n_nodes);
uint8_t heimdall_schedule_order(uint32_t k, uint8_t reporting_node,
					uint8_t n_nodes, uint8_t ordinal);
```

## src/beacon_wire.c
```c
#include "beacon_wire.h"

#include <errno.h>
#include <string.h>

#include <zephyr/sys/byteorder.h>
#include <zephyr/sys/crc.h>

static uint32_t crc32_table[256];
static bool crc32_table_ready;

static void crc32_table_init(void)
{
	if (crc32_table_ready) {
		return;
	}
	for (uint32_t i = 0U; i < 256U; ++i) {
		uint32_t value = i;

		for (uint8_t bit = 0U; bit < 8U; ++bit) {
			value = (value >> 1) ^
				((value & 1U) != 0U ? 0xedb88320U : 0U);
		}
		crc32_table[i] = value;
	}
	crc32_table_ready = true;
}

#if defined(CONFIG_HEIMDALL_RUNTIME_GATEWAY)
void heimdall_crc32_init(void)
{
	crc32_table_init();
}
#endif

static uint64_t get_le40(const uint8_t *data)
{
	uint64_t value = 0U;

	for (size_t i = 0U; i < 5U; ++i) {
		value |= (uint64_t)data[i] << (i * 8U);
	}
	return value;
}

static void put_le40(uint8_t *data, uint64_t value)
{
	value &= ((1ULL << 40U) - 1U);
	for (size_t i = 0U; i < 5U; ++i) {
		data[i] = (uint8_t)(value >> (i * 8U));
	}
}

uint32_t heimdall_crc32(const uint8_t *data, size_t length)
{
	uint32_t crc = UINT32_MAX;

	crc32_table_init();
	for (size_t i = 0U; i < length; ++i) {
		crc = (crc >> 8) ^ crc32_table[(crc ^ data[i]) & 0xffU];
	}
	return ~crc;
}

int heimdall_frame_header_encode(const struct heimdall_frame_header *header,
					 uint8_t *out, size_t out_length)
{
	if (header == NULL || out == NULL || out_length < HEIMDALL_FRAME_HEADER_BYTES) {
		return -EINVAL;
	}

	sys_put_le16(0x8841U, &out[0]);
	out[2] = header->mac_seq;
	sys_put_le16(header->network_id, &out[3]);
	sys_put_le16(0xFFFFU, &out[5]);
	sys_put_le16(header->src_addr, &out[7]);
	out[9] = header->protocol_version;
	out[10] = header->frame_type;
	out[11] = header->m;
	sys_put_le32(header->k, &out[12]);
	out[16] = header->n_nodes;
	out[17] = header->slots_per_superslot;
	sys_put_le16(header->config_hash, &out[18]);
	put_le40(&out[20], header->tx_timestamp);
	out[25] = header->subreport_count;
	sys_put_le16(header->pooled_total_bytes, &out[26]);
	out[28] = header->peer_observed_bitmap;
	out[29] = header->evidence_age;
	out[30] = header->flags;
	return 0;
}

int heimdall_frame_header_decode(struct heimdall_frame_header *header,
					 const uint8_t *data, size_t data_length)
{
	if (header == NULL || data == NULL || data_length < HEIMDALL_FRAME_HEADER_BYTES) {
		return -EINVAL;
	}
	if (sys_get_le16(&data[0]) != 0x8841U || sys_get_le16(&data[5]) != 0xFFFFU) {
		return -EBADMSG;
	}

	header->mac_seq = data[2];
	header->network_id = sys_get_le16(&data[3]);
	header->src_addr = (uint8_t)sys_get_le16(&data[7]);
	header->protocol_version = data[9];
	header->frame_type = data[10];
	header->m = data[11];
	header->k = sys_get_le32(&data[12]);
	header->n_nodes = data[16];
	header->slots_per_superslot = data[17];
	header->config_hash = sys_get_le16(&data[18]);
	header->tx_timestamp = get_le40(&data[20]);
	header->subreport_count = data[25];
	header->pooled_total_bytes = sys_get_le16(&data[26]);
	header->peer_observed_bitmap = data[28];
	header->evidence_age = data[29];
	header->flags = data[30];
	return 0;
}

int heimdall_subreport_encode(const struct heimdall_subreport *subreport,
				      uint8_t *out, size_t out_length)
{
	size_t cir_bytes;
	size_t crc_offset;

	if (subreport == NULL || out == NULL || subreport->cir_iq == NULL ||
	    subreport->cir_taps == 0U || subreport->cir_taps > HEIMDALL_MAX_CIR_TAPS) {
		return -EINVAL;
	}
	cir_bytes = (size_t)subreport->cir_taps * 4U;
	crc_offset = 36U + cir_bytes;
	if (out_length < crc_offset + 4U) {
		return -EINVAL;
	}

	out[0] = subreport->observed_node_id;
	out[1] = subreport->obs_flags;
	out[2] = subreport->observed_m;
	out[3] = subreport->round_delta;
	put_le40(&out[4], subreport->observed_tx_timestamp);
	put_le40(&out[9], subreport->rx_timestamp);
	sys_put_le16((uint16_t)subreport->cfo_raw, &out[14]);
	sys_put_le16(subreport->fp_index_q10_6, &out[16]);
	 sys_put_le24(subreport->f1, &out[18]);
	 sys_put_le24(subreport->f2, &out[21]);
	 sys_put_le24(subreport->f3, &out[24]);
	 sys_put_le24(subreport->ip_power, &out[27]);
	sys_put_le16(subreport->accum_count, &out[30]);
	out[32] = subreport->dgc_decision;
	sys_put_le16(subreport->cir_start_offset, &out[33]);
	out[35] = subreport->cir_taps;
	for (size_t i = 0U; i < (size_t)subreport->cir_taps * 2U; ++i) {
		sys_put_le16((uint16_t)subreport->cir_iq[i], &out[36U + i * 2U]);
	}
	sys_put_le32(heimdall_crc32(out, crc_offset), &out[crc_offset]);
	return 0;
}

int heimdall_subreport_decode(struct heimdall_subreport *subreport,
				      int16_t *cir_iq, size_t cir_iq_count,
				      const uint8_t *data, size_t data_length)
{
	size_t cir_bytes;
	size_t crc_offset;

	if (subreport == NULL || cir_iq == NULL || data == NULL || data_length < 40U) {
		return -EINVAL;
	}
	subreport->cir_taps = data[35];
	if (subreport->cir_taps == 0U || subreport->cir_taps > HEIMDALL_MAX_CIR_TAPS) {
		return -EBADMSG;
	}
	cir_bytes = (size_t)subreport->cir_taps * 4U;
	crc_offset = 36U + cir_bytes;
	if (cir_iq_count < (size_t)subreport->cir_taps * 2U || data_length < crc_offset + 4U ||
	    sys_get_le32(&data[crc_offset]) != heimdall_crc32(data, crc_offset)) {
		return -EBADMSG;
	}

	subreport->observed_node_id = data[0];
	subreport->obs_flags = data[1];
	subreport->observed_m = data[2];
	subreport->round_delta = data[3];
	subreport->observed_tx_timestamp = get_le40(&data[4]);
	subreport->rx_timestamp = get_le40(&data[9]);
	subreport->cfo_raw = (int16_t)sys_get_le16(&data[14]);
	subreport->fp_index_q10_6 = sys_get_le16(&data[16]);
	subreport->f1 = sys_get_le24(&data[18]);
	subreport->f2 = sys_get_le24(&data[21]);
	subreport->f3 = sys_get_le24(&data[24]);
	subreport->ip_power = sys_get_le24(&data[27]);
	subreport->accum_count = sys_get_le16(&data[30]);
	subreport->dgc_decision = data[32];
	subreport->cir_start_offset = sys_get_le16(&data[33]);
	subreport->cir_iq = cir_iq;
	for (size_t i = 0U; i < (size_t)subreport->cir_taps * 2U; ++i) {
		cir_iq[i] = (int16_t)sys_get_le16(&data[36U + i * 2U]);
	}
	return 0;
}
```

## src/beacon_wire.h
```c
#pragma once

#include <stdbool.h>
#include <stddef.h>
#include <stdint.h>

#ifndef HEIMDALL_FRAME_HEADER_BYTES
#define HEIMDALL_FRAME_HEADER_BYTES 31U
#endif
#define HEIMDALL_SUBREPORT_FIXED_BYTES 40U
#define HEIMDALL_MAX_CIR_TAPS 128U

struct heimdall_frame_header {
	uint8_t mac_seq;
	uint16_t network_id;
	uint8_t src_addr;
	uint8_t protocol_version;
	uint8_t frame_type;
	uint8_t m;
	uint32_t k;
	uint8_t n_nodes;
	uint8_t slots_per_superslot;
	uint16_t config_hash;
	uint64_t tx_timestamp;
	uint8_t subreport_count;
	uint16_t pooled_total_bytes;
	uint8_t peer_observed_bitmap;
	uint8_t evidence_age;
	uint8_t flags;
};

struct heimdall_subreport {
	uint8_t observed_node_id;
	uint8_t obs_flags;
	uint8_t observed_m;
	uint8_t round_delta;
	uint64_t observed_tx_timestamp;
	uint64_t rx_timestamp;
	int16_t cfo_raw;
	uint16_t fp_index_q10_6;
	uint32_t f1;
	uint32_t f2;
	uint32_t f3;
	uint32_t ip_power;
	uint16_t accum_count;
	uint8_t dgc_decision;
	uint16_t cir_start_offset;
	uint8_t cir_taps;
	const int16_t *cir_iq;
};

uint32_t heimdall_crc32(const uint8_t *data, size_t length);
void heimdall_crc32_init(void);

int heimdall_frame_header_encode(const struct heimdall_frame_header *header,
					 uint8_t *out, size_t out_length);
int heimdall_frame_header_decode(struct heimdall_frame_header *header,
					 const uint8_t *data, size_t data_length);

int heimdall_subreport_encode(const struct heimdall_subreport *subreport,
				      uint8_t *out, size_t out_length);
int heimdall_subreport_decode(struct heimdall_subreport *subreport,
				      int16_t *cir_iq, size_t cir_iq_count,
				      const uint8_t *data, size_t data_length);
```

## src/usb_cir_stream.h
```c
#pragma once

#include <stddef.h>
#include <stdbool.h>
#include <stdint.h>

#include <zephyr/sys/atomic.h>

struct heimdall_usb_queue_diagnostics {
	atomic_t allocation_failures;
	atomic_t depth;
	atomic_t depth_high_water;
	atomic_t callback_count;
	atomic_t fill_calls;
	atomic_t fill_zero_returns;
	atomic_t bytes_accepted;
};

extern struct heimdall_usb_queue_diagnostics heimdall_usb_queue_diagnostics;

void live_cir_stream_enqueue(const char *line, size_t length);
bool live_cir_stream_enqueue_binary(uint32_t seq, uint64_t rx_ts, int32_t cfo,
                                    uint32_t fp, uint8_t agc_state,
                                    int16_t rssi_q8_8, int16_t fp_power_q8_8,
                                    const uint8_t *cir_raw);

int phase1_run_usb_throughput(void);

bool heimdall_usb_enqueue_record(uint8_t type, uint8_t flags,
				 const void *prefix, uint16_t prefix_length,
				 const void *body, uint16_t body_length);
uint32_t heimdall_usb_drop_count_get(void);
uint32_t heimdall_usb_drop_count_take(void);
void heimdall_usb_drop_count_restore(uint32_t count);
void heimdall_usb_note_drop(void);
```
